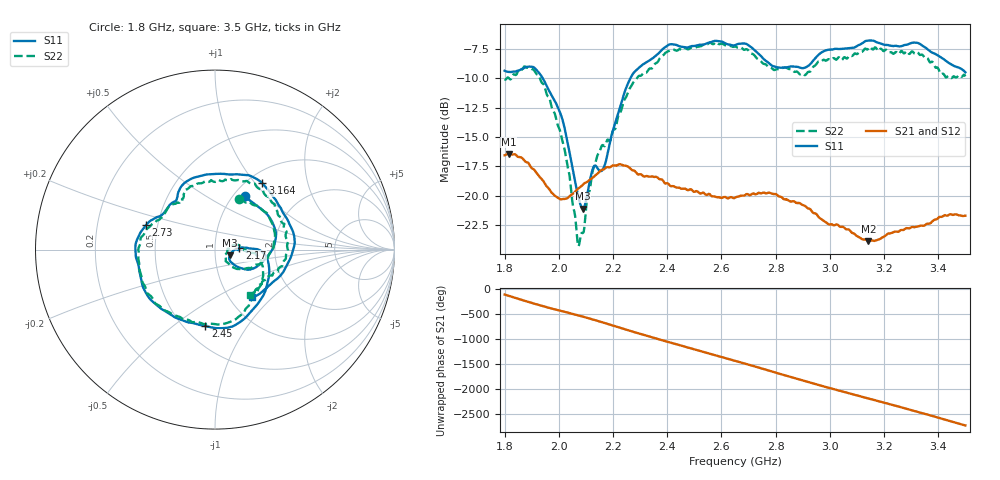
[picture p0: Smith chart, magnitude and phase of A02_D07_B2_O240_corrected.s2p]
! Created with skrf 1.9.0 (http://scikit-rf.org).
# Hz S RI R 50.0
!freq ReS11 ImS11 ReS21 ImS21 ReS12 ImS12 ReS22 ImS22
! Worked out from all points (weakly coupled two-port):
!   1601 points, 1.8 GHz to 3.5 GHz, reference 50 ohm
!   highest |S21| = -16.45 dB at 1.815 GHz (marker M1); lowest = -23.9 dB at 3.142 GHz (marker M2)
!   lowest |S11| = -21.1 dB at 2.089 GHz (marker M3), VSWR 1.19, Z = 58.8 - j3.89 ohm
!   |S11| at or under -10 dB: 1.941 GHz to 2.264 GHz (323.6 MHz wide, 15.4 % of centre)
!   |S22| runs from -24.3 to -7.0 dB; largest |S21 - S12| = 0.0029
!   S11 on the Smith chart (normalised r, x): 1.8 GHz: 1.13, +0.76; 2.17 GHz: 1.31, +0.02; 2.45 GHz: 0.63, -0.66; 2.73 GHz: 0.43, +0.14; 3.164 GHz: 1.17, +1.09; 3.5 GHz: 1.27, -0.75
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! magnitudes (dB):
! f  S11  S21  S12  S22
! 1.8 GHz  -9.4  -16.6  -16.6  -10.1
! 1.815 GHz  -9.5  -16.5  -16.5  -10.0
! 1.881 GHz  -9.0  -17.1  -17.2  -9.1
! 1.944 GHz  -10.2  -18.8  -18.8  -10.5
! 2.013 GHz  -13.5  -20.3  -20.3  -15.3
! 2.069 GHz  -19.7  -19.4  -19.5  -23.9
! 2.084 GHz  -21.0  -19.2  -19.1  -23.2
! 2.089 GHz  -21.1  -19.1  -19.1  -23.2
! 2.129 GHz  -17.5  -18.4  -18.4  -17.6
! 2.17 GHz  -17.4  -17.7  -17.7  -15.8
! 2.261 GHz  -10.1  -17.6  -17.6  -10.9
! 2.367 GHz  -7.9  -18.5  -18.5  -8.5
! 2.45 GHz  -7.3  -19.4  -19.4  -7.6
! 2.65 GHz  -7.2  -20.2  -20.1  -7.3
! 2.73 GHz  -7.8  -19.9  -19.9  -8.3
! 2.809 GHz  -9.1  -20.0  -20.0  -9.2
! 2.934 GHz  -8.6  -21.3  -21.3  -9.2
! 3.142 GHz  -6.8  -23.9  -23.8  -7.5
! 3.164 GHz  -6.8  -23.8  -23.8  -7.4
! 3.217 GHz  -7.2  -23.2  -23.2  -7.8
! 3.326 GHz  -7.0  -22.6  -22.6  -7.9
! 3.5 GHz  -9.5  -21.7  -21.7  -9.9
